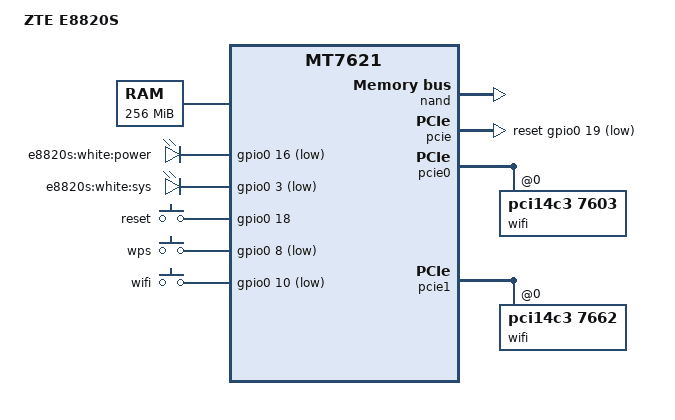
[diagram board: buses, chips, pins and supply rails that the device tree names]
/dts-v1/;

#include "mt7621.dtsi"

#include <dt-bindings/gpio/gpio.h>
#include <dt-bindings/input/input.h>

/ {
	compatible = "zte,e8820s", "mediatek,mt7621-soc";
	model = "ZTE E8820S";

	aliases {
		led-boot = &led_sys;
		led-failsafe = &led_sys;
		led-running = &led_power;
		led-upgrade = &led_power;
	};

	memory@0 {
		device_type = "memory";
		reg = <0x0 0x10000000>;
	};

	chosen {
		bootargs = "console=ttyS0,115200";
	};

	leds {
		compatible = "gpio-leds";

		led_power: power {
			label = "e8820s:white:power";
			gpios = <&gpio0 16 GPIO_ACTIVE_LOW>;
		};

		led_sys: sys {
			label = "e8820s:white:sys";
			gpios = <&gpio0 3 GPIO_ACTIVE_LOW>;
		};
	};

	keys {
		compatible = "gpio-keys";

		reset {
			label = "reset";
			gpios = <&gpio0 18 GPIO_ACTIVE_HIGH>;
			linux,code = <KEY_RESTART>;
		};

		wps {
			label = "wps";
			gpios = <&gpio0 8 GPIO_ACTIVE_LOW>;
			linux,code = <KEY_WPS_BUTTON>;
		};

		wifi {
			label = "wifi";
			gpios = <&gpio0 10 GPIO_ACTIVE_LOW>;
			linux,code = <KEY_RFKILL>;
		};
	};
};

&nand {
	status = "okay";

	partitions {
		compatible = "fixed-partitions";
		#address-cells = <1>;
		#size-cells = <1>;

		partition@0 {
			label = "u-boot";
			reg = <0x0 0x80000>;
			read-only;
		};

		partition@80000 {
			label = "u-boot-env";
			reg = <0x80000 0x80000>;
			read-only;
		};

		factory: partition@100000 {
			label = "factory";
			reg = <0x100000 0x40000>;
			read-only;
		};

		partition@140000 {
			label = "kernel";
			reg = <0x140000 0x400000>;
		};

		partition@540000 {
			label = "ubi";
			reg = <0x540000 0x7a40000>;
		};
	};
};

&pcie {
	status = "okay";
	reset-gpios = <&gpio0 19 GPIO_ACTIVE_LOW>,
	              <&gpio0 4 GPIO_ACTIVE_LOW>;
};

&pcie0 {
	wifi@0,0 {
		compatible = "pci14c3,7603";
		reg = <0x0000 0 0 0 0>;
		mediatek,mtd-eeprom = <&factory 0x0000>;
		ieee80211-freq-limit = <2400000 2500000>;
		led {
			led-active-low;
		};
	};
};

&pcie1 {
	wifi@0,0 {
		compatible = "pci14c3,7662";
		reg = <0x0000 0 0 0 0>;
		mediatek,mtd-eeprom = <&factory 0x8000>;
		ieee80211-freq-limit = <5000000 6000000>;
		led {
			led-sources = <2>;
			led-active-low;
		};
	};
};

&ethernet {
	mtd-mac-address = <&factory 0xe000>;
        mediatek,portmap = "llllw";
};

&pinctrl {
          state_default: pinctrl0 {
	         gpio {
		           ralink,group = "jtag", "uart2", "uart3", "wdt";
		           ralink,function = "gpio";
	        };
        };
};
